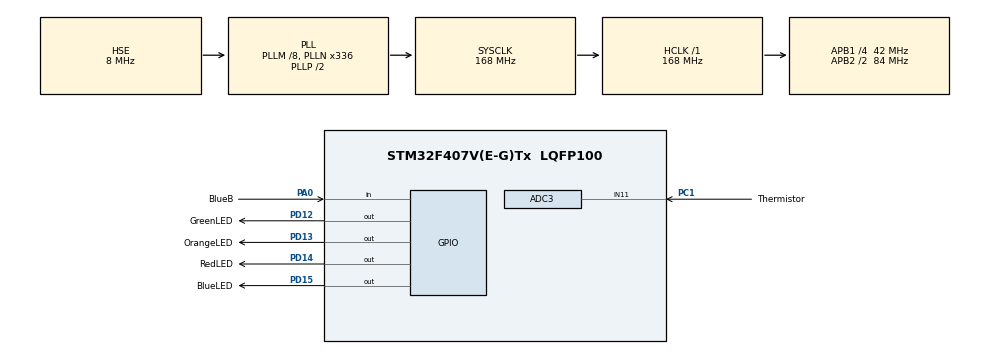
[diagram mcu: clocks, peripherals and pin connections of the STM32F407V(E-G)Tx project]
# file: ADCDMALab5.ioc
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ADC1.Channel-1\#ChannelRegularConversion=ADC_CHANNEL_TEMPSENSOR
ADC1.ContinuousConvMode=ENABLE
ADC1.DMAContinuousRequests=ENABLE
ADC1.NbrOfConversionFlag=1
ADC1.Rank-1\#ChannelRegularConversion=1
ADC1.SamplingTime-1\#ChannelRegularConversion=ADC_SAMPLETIME_84CYCLES
ADC1.master=1
ADC3.Channel-0\#ChannelRegularConversion=ADC_CHANNEL_11
ADC3.ContinuousConvMode=ENABLE
ADC3.DMAContinuousRequests=ENABLE
ADC3.NbrOfConversionFlag=1
ADC3.SamplingTime-0\#ChannelRegularConversion=ADC_SAMPLETIME_84CYCLES
Dma.ADC1.0.Direction=DMA_PERIPH_TO_MEMORY
Dma.ADC1.0.FIFOMode=DMA_FIFOMODE_DISABLE
Dma.ADC1.0.Instance=DMA2_Stream4
Dma.ADC1.0.MemDataAlignment=DMA_MDATAALIGN_WORD
Dma.ADC1.0.MemInc=DMA_MINC_ENABLE
Dma.ADC1.0.Mode=DMA_CIRCULAR
Dma.ADC1.0.PeriphDataAlignment=DMA_PDATAALIGN_WORD
Dma.ADC1.0.PeriphInc=DMA_PINC_DISABLE
Dma.ADC1.0.Priority=DMA_PRIORITY_LOW
Dma.ADC3.1.Direction=DMA_PERIPH_TO_MEMORY
Dma.ADC3.1.FIFOMode=DMA_FIFOMODE_DISABLE
Dma.ADC3.1.Instance=DMA2_Stream0
Dma.ADC3.1.MemDataAlignment=DMA_MDATAALIGN_WORD
Dma.ADC3.1.MemInc=DMA_MINC_ENABLE
Dma.ADC3.1.Mode=DMA_CIRCULAR
Dma.ADC3.1.PeriphDataAlignment=DMA_PDATAALIGN_WORD
Dma.ADC3.1.PeriphInc=DMA_PINC_DISABLE
Dma.ADC3.1.Priority=DMA_PRIORITY_LOW
Dma.Request0=ADC1
Dma.Request1=ADC3
Mcu.Family=STM32F4
Mcu.Name=STM32F407V(E-G)Tx
Mcu.Package=LQFP100
NVIC.DMA2_Stream0_IRQn=true\:0\:0\:false\:false\:true\:false\:true
NVIC.DMA2_Stream4_IRQn=true\:0\:0\:false\:false\:true\:false\:true
NVIC.PriorityGroup=NVIC_PRIORITYGROUP_4
PA0-WKUP.GPIO_Label=BlueB
PA0-WKUP.GPIO_Mode=GPIO_MODE_INPUT
PA0-WKUP.GPIO_PuPd=GPIO_NOPULL
PA0-WKUP.Signal=GPIO_Input
PA13.Mode=Trace_Asynchronous_SW
PA13.Signal=SYS_JTMS-SWDIO
PA14.Mode=Trace_Asynchronous_SW
PA14.Signal=SYS_JTCK-SWCLK
PB3.Mode=Trace_Asynchronous_SW
PB3.Signal=SYS_JTDO-SWO
PC1.GPIO_Label=Thermistor
PC1.GPIO_Mode=GPIO_MODE_ANALOG
PC1.GPIO_PuPd=GPIO_NOPULL
PC1.Signal=ADCx_IN11
PD12.GPIO_Label=GreenLED
PD12.GPIO_ModeDefaultOutputPP=GPIO_MODE_OUTPUT_PP
PD12.GPIO_PuPd=GPIO_NOPULL
PD12.GPIO_Speed=GPIO_SPEED_FREQ_LOW
PD12.PinState=GPIO_PIN_RESET
PD12.Signal=GPIO_Output
PD13.GPIO_Label=OrangeLED
PD13.GPIO_ModeDefaultOutputPP=GPIO_MODE_OUTPUT_PP
PD13.GPIO_PuPd=GPIO_NOPULL
PD13.GPIO_Speed=GPIO_SPEED_FREQ_LOW
PD13.PinState=GPIO_PIN_RESET
PD13.Signal=GPIO_Output
PD14.GPIO_Label=RedLED
PD14.GPIO_ModeDefaultOutputPP=GPIO_MODE_OUTPUT_PP
PD14.GPIO_PuPd=GPIO_NOPULL
PD14.GPIO_Speed=GPIO_SPEED_FREQ_LOW
PD14.PinState=GPIO_PIN_RESET
PD14.Signal=GPIO_Output
PD15.GPIO_Label=BlueLED
PD15.GPIO_ModeDefaultOutputPP=GPIO_MODE_OUTPUT_PP
PD15.GPIO_PuPd=GPIO_NOPULL
PD15.GPIO_Speed=GPIO_SPEED_FREQ_LOW
PD15.PinState=GPIO_PIN_RESET
PD15.Signal=GPIO_Output
PH0-OSC_IN.Mode=HSE-External-Oscillator
PH0-OSC_IN.Signal=RCC_OSC_IN
PH1-OSC_OUT.Mode=HSE-External-Oscillator
PH1-OSC_OUT.Signal=RCC_OSC_OUT
ProjectManager.HeapSize=0x200
ProjectManager.StackSize=0x400
ProjectManager.TargetToolchain=STM32CubeIDE
RCC.48MHZClocksFreq_Value=48000000
RCC.AHBFreq_Value=168000000
RCC.APB1CLKDivider=RCC_HCLK_DIV4
RCC.APB1Freq_Value=42000000
RCC.APB1TimFreq_Value=84000000
RCC.APB2CLKDivider=RCC_HCLK_DIV2
RCC.APB2Freq_Value=84000000
RCC.APB2TimFreq_Value=168000000
RCC.CortexFreq_Value=168000000
RCC.HCLKFreq_Value=168000000
RCC.HSE_VALUE=8000000
RCC.HSI_VALUE=16000000
RCC.LSE_VALUE=32768
RCC.PLLM=8
RCC.PLLN=336
RCC.PLLQ=7
RCC.PLLSourceVirtual=RCC_PLLSOURCE_HSE
RCC.SYSCLKFreq_VALUE=168000000
RCC.SYSCLKSource=RCC_SYSCLKSOURCE_PLLCLK
RCC.VCOOutputFreq_Value=336000000
SH.ADCx_IN11.0=ADC3_IN11,IN11
VP_ADC1_TempSens_Input.Mode=IN-TempSens
VP_RNG_VS_RNG.Mode=RNG_Activate
board=custom

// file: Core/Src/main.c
/* USER CODE BEGIN Header */
/**
  ******************************************************************************
  * @file           : main.c
  * @brief          : Main program body
  *Name: Job Matthew C. Yap
  ******************************************************************************
  * @attention
  *
  * <h2><center>&copy; Copyright (c) 2020 STMicroelectronics.
  * All rights reserved.</center></h2>
  *
  * This software component is licensed by ST under BSD 3-Clause license,
  * the "License"; You may not use this file except in compliance with the
  * License. You may obtain a copy of the License at:
  *                        opensource.org/licenses/BSD-3-Clause
  *
  ******************************************************************************
  */
/* USER CODE END Header */
#include "main.h"

ADC_HandleTypeDef hadc1;
ADC_HandleTypeDef hadc3;
DMA_HandleTypeDef hdma_adc1;
DMA_HandleTypeDef hdma_adc3;

RNG_HandleTypeDef hrng;

/* USER CODE BEGIN PV */
uint32_t Tarray[100];			//This is out array variables.
uint32_t Darray[100];
uint32_t thermValue;   			//This is our Global Variable Declarations.
uint32_t dieValue;   			//This is our Global Variable Declarations.
uint32_t resistor= 100000;		//This is our resistor Value.
float C;						//This will be our temperature variable.
float calc;						//This is for our Resistor Calculation
double stein;					//This is for the thermistor Celsius conversion.
float cal2;						//This is for the dievalue calculation.

/* USER CODE END PV */

void SystemClock_Config(void);
static void MX_GPIO_Init(void);
static void MX_DMA_Init(void);
static void MX_RNG_Init(void);
static void MX_ADC1_Init(void);
static void MX_ADC3_Init(void);
/* USER CODE BEGIN PFP */
void Tdie();
void Tcalc();
/* USER CODE END PFP */

int main(void)
{

  /* MCU Configuration--------------------------------------------------------*/

  /* Reset of all peripherals, Initializes the Flash interface and the Systick. */
  HAL_Init();

  /* Configure the system clock */
  SystemClock_Config();

  /* Initialize all configured peripherals */
  MX_GPIO_Init();
  MX_DMA_Init();
  MX_RNG_Init();
  MX_ADC1_Init();
  MX_ADC3_Init();
  /* USER CODE BEGIN 2 */
  HAL_ADC_Start_DMA(&hadc3, Tarray, 100);    //Uses the DMA to send our ADC reading values into our arrays.
  HAL_ADC_Start_DMA(&hadc1, Darray, 100);
  /* USER CODE END 2 */

  /* Infinite loop */
  /* USER CODE BEGIN WHILE */
  while (1)
  {
	  dieValue = 0;					//This sets our Dievalue to zero.
	  thermValue = 0;					//This sets our thermistor value to zero.
	  for(int i=0; i<100; i++){			//This for loops cycles through 100 times so that we get 100 readings for our thermistor.
		  thermValue+=Tarray[i];		//Then takes the average.
	  }
	  thermValue/=100;

	  for(int i=0; i<100; i++){			//This for loops cycles through 100 times so that we get 100 readings for our dieValue.
		  dieValue += Darray[i];		//Then takes the average also.
	  }
	  dieValue/=100;
	  printf("ThermValue: %li\n", thermValue);		//This prints our DieValues and our thermistor Values.
	  printf("DieValue: %li\n", dieValue);
	  HAL_GPIO_WritePin(OrangeLED_GPIO_Port, OrangeLED_Pin, GPIO_PIN_SET);		//Toggles our Led to blink at a 1/2 second rate.
	  HAL_Delay(250);
	  HAL_GPIO_WritePin(OrangeLED_GPIO_Port, OrangeLED_Pin, GPIO_PIN_RESET);
	  HAL_Delay(250);
	  Tcalc();			//Calls our calculation functions to convert the values to Celsius
	  Tdie();
    /* USER CODE END WHILE */

  }
}

void SystemClock_Config(void)
{
  RCC_OscInitTypeDef RCC_OscInitStruct = {0};
  RCC_ClkInitTypeDef RCC_ClkInitStruct = {0};

  /** Configure the main internal regulator output voltage
  */
  __HAL_RCC_PWR_CLK_ENABLE();
  __HAL_PWR_VOLTAGESCALING_CONFIG(PWR_REGULATOR_VOLTAGE_SCALE1);
  /** Initializes the RCC Oscillators according to the specified parameters
  * in the RCC_OscInitTypeDef structure.
  */
  RCC_OscInitStruct.OscillatorType = RCC_OSCILLATORTYPE_HSE;
  RCC_OscInitStruct.HSEState = RCC_HSE_ON;
  RCC_OscInitStruct.PLL.PLLState = RCC_PLL_ON;
  RCC_OscInitStruct.PLL.PLLSource = RCC_PLLSOURCE_HSE;
  RCC_OscInitStruct.PLL.PLLM = 8;
  RCC_OscInitStruct.PLL.PLLN = 336;
  RCC_OscInitStruct.PLL.PLLP = RCC_PLLP_DIV2;
  RCC_OscInitStruct.PLL.PLLQ = 7;
  if (HAL_RCC_OscConfig(&RCC_OscInitStruct) != HAL_OK)
  {
    Error_Handler();
  }
  /** Initializes the CPU, AHB and APB buses clocks
  */
  RCC_ClkInitStruct.ClockType = RCC_CLOCKTYPE_HCLK|RCC_CLOCKTYPE_SYSCLK
                              |RCC_CLOCKTYPE_PCLK1|RCC_CLOCKTYPE_PCLK2;
  RCC_ClkInitStruct.SYSCLKSource = RCC_SYSCLKSOURCE_PLLCLK;
  RCC_ClkInitStruct.AHBCLKDivider = RCC_SYSCLK_DIV1;
  RCC_ClkInitStruct.APB1CLKDivider = RCC_HCLK_DIV4;
  RCC_ClkInitStruct.APB2CLKDivider = RCC_HCLK_DIV2;

  if (HAL_RCC_ClockConfig(&RCC_ClkInitStruct, FLASH_LATENCY_5) != HAL_OK)
  {
    Error_Handler();
  }
}

static void MX_ADC1_Init(void)
{

  ADC_ChannelConfTypeDef sConfig = {0};

  /** Configure the global features of the ADC (Clock, Resolution, Data Alignment and number of conversion)
  */
  hadc1.Instance = ADC1;
  hadc1.Init.ClockPrescaler = ADC_CLOCK_SYNC_PCLK_DIV4;
  hadc1.Init.Resolution = ADC_RESOLUTION_12B;
  hadc1.Init.ScanConvMode = DISABLE;
  hadc1.Init.ContinuousConvMode = ENABLE;
  hadc1.Init.DiscontinuousConvMode = DISABLE;
  hadc1.Init.ExternalTrigConvEdge = ADC_EXTERNALTRIGCONVEDGE_NONE;
  hadc1.Init.ExternalTrigConv = ADC_SOFTWARE_START;
  hadc1.Init.DataAlign = ADC_DATAALIGN_RIGHT;
  hadc1.Init.NbrOfConversion = 1;
  hadc1.Init.DMAContinuousRequests = ENABLE;
  hadc1.Init.EOCSelection = ADC_EOC_SINGLE_CONV;
  if (HAL_ADC_Init(&hadc1) != HAL_OK)
  {
    Error_Handler();
  }
  /** Configure for the selected ADC regular channel its corresponding rank in the sequencer and its sample time.
  */
  sConfig.Channel = ADC_CHANNEL_TEMPSENSOR;
  sConfig.Rank = 1;
  sConfig.SamplingTime = ADC_SAMPLETIME_84CYCLES;
  if (HAL_ADC_ConfigChannel(&hadc1, &sConfig) != HAL_OK)
  {
    Error_Handler();
  }

}

static void MX_ADC3_Init(void)
{

  ADC_ChannelConfTypeDef sConfig = {0};

  /** Configure the global features of the ADC (Clock, Resolution, Data Alignment and number of conversion)
  */
  hadc3.Instance = ADC3;
  hadc3.Init.ClockPrescaler = ADC_CLOCK_SYNC_PCLK_DIV4;
  hadc3.Init.Resolution = ADC_RESOLUTION_12B;
  hadc3.Init.ScanConvMode = DISABLE;
  hadc3.Init.ContinuousConvMode = ENABLE;
  hadc3.Init.DiscontinuousConvMode = DISABLE;
  hadc3.Init.ExternalTrigConvEdge = ADC_EXTERNALTRIGCONVEDGE_NONE;
  hadc3.Init.ExternalTrigConv = ADC_SOFTWARE_START;
  hadc3.Init.DataAlign = ADC_DATAALIGN_RIGHT;
  hadc3.Init.NbrOfConversion = 1;
  hadc3.Init.DMAContinuousRequests = ENABLE;
  hadc3.Init.EOCSelection = ADC_EOC_SINGLE_CONV;
  if (HAL_ADC_Init(&hadc3) != HAL_OK)
  {
    Error_Handler();
  }
  /** Configure for the selected ADC regular channel its corresponding rank in the sequencer and its sample time.
  */
  sConfig.Channel = ADC_CHANNEL_11;
  sConfig.Rank = 1;
  sConfig.SamplingTime = ADC_SAMPLETIME_84CYCLES;
  if (HAL_ADC_ConfigChannel(&hadc3, &sConfig) != HAL_OK)
  {
    Error_Handler();
  }

}

static void MX_RNG_Init(void)
{

  hrng.Instance = RNG;
  if (HAL_RNG_Init(&hrng) != HAL_OK)
  {
    Error_Handler();
  }

}

static void MX_DMA_Init(void)
{

  /* DMA controller clock enable */
  __HAL_RCC_DMA2_CLK_ENABLE();

  /* DMA interrupt init */
  /* DMA2_Stream0_IRQn interrupt configuration */
  HAL_NVIC_SetPriority(DMA2_Stream0_IRQn, 0, 0);
  HAL_NVIC_EnableIRQ(DMA2_Stream0_IRQn);
  /* DMA2_Stream4_IRQn interrupt configuration */
  HAL_NVIC_SetPriority(DMA2_Stream4_IRQn, 0, 0);
  HAL_NVIC_EnableIRQ(DMA2_Stream4_IRQn);

}

static void MX_GPIO_Init(void)
{
  GPIO_InitTypeDef GPIO_InitStruct = {0};

  /* GPIO Ports Clock Enable */
  __HAL_RCC_GPIOH_CLK_ENABLE();
  __HAL_RCC_GPIOC_CLK_ENABLE();
  __HAL_RCC_GPIOA_CLK_ENABLE();
  __HAL_RCC_GPIOD_CLK_ENABLE();
  __HAL_RCC_GPIOB_CLK_ENABLE();

  /*Configure GPIO pin Output Level */
  HAL_GPIO_WritePin(GPIOD, GreenLED_Pin|OrangeLED_Pin|RedLED_Pin|BlueLED_Pin, GPIO_PIN_RESET);

  /*Configure GPIO pin : BlueB_Pin */
  GPIO_InitStruct.Pin = BlueB_Pin;
  GPIO_InitStruct.Mode = GPIO_MODE_INPUT;
  GPIO_InitStruct.Pull = GPIO_NOPULL;
  HAL_GPIO_Init(BlueB_GPIO_Port, &GPIO_InitStruct);

  /*Configure GPIO pins : GreenLED_Pin OrangeLED_Pin RedLED_Pin BlueLED_Pin */
  GPIO_InitStruct.Pin = GreenLED_Pin|OrangeLED_Pin|RedLED_Pin|BlueLED_Pin;
  GPIO_InitStruct.Mode = GPIO_MODE_OUTPUT_PP;
  GPIO_InitStruct.Pull = GPIO_NOPULL;
  GPIO_InitStruct.Speed = GPIO_SPEED_FREQ_LOW;
  HAL_GPIO_Init(GPIOD, &GPIO_InitStruct);

}

/* USER CODE BEGIN 4 */
int __io_putchar(int ch)  //printf function without this we are unable to use printf.
{
	ITM_SendChar(ch);
	return 0;
}
void Tcalc()				//Thermistor calculation function.
{

	  calc = (4095.0/thermValue)-1;	//This Calculates our resistor on the thermistor.
	  calc = 10000/calc;
	  stein= calc/resistor;
	  stein = (log(stein));						//Log the calculated value from on top.
	  stein = (stein/3950.0);
	  stein = (stein+(1.0/298.15));
	  stein = (1.0/stein);
	  stein = (stein-273.15);
	  C = stein;
	  printf("Temperature of Thermistor: %.1f C\n ", C);	   //print temperature in Cel.
}
void Tdie()					//Dievalue calculation function.
{
	 cal2 = dieValue/4095.0;		//The temperature conversion happens here.
	 cal2 = cal2*3;
	 cal2 = ((cal2-0.76)/0.0025)+25.0;
	 printf("Temperature of DieVal: %.1f C\n ", cal2); //Prints the calculated value of the die temperature
}
/* USER CODE END 4 */

void Error_Handler(void)
{
}

/************************ (C) COPYRIGHT STMicroelectronics *****END OF FILE****/
